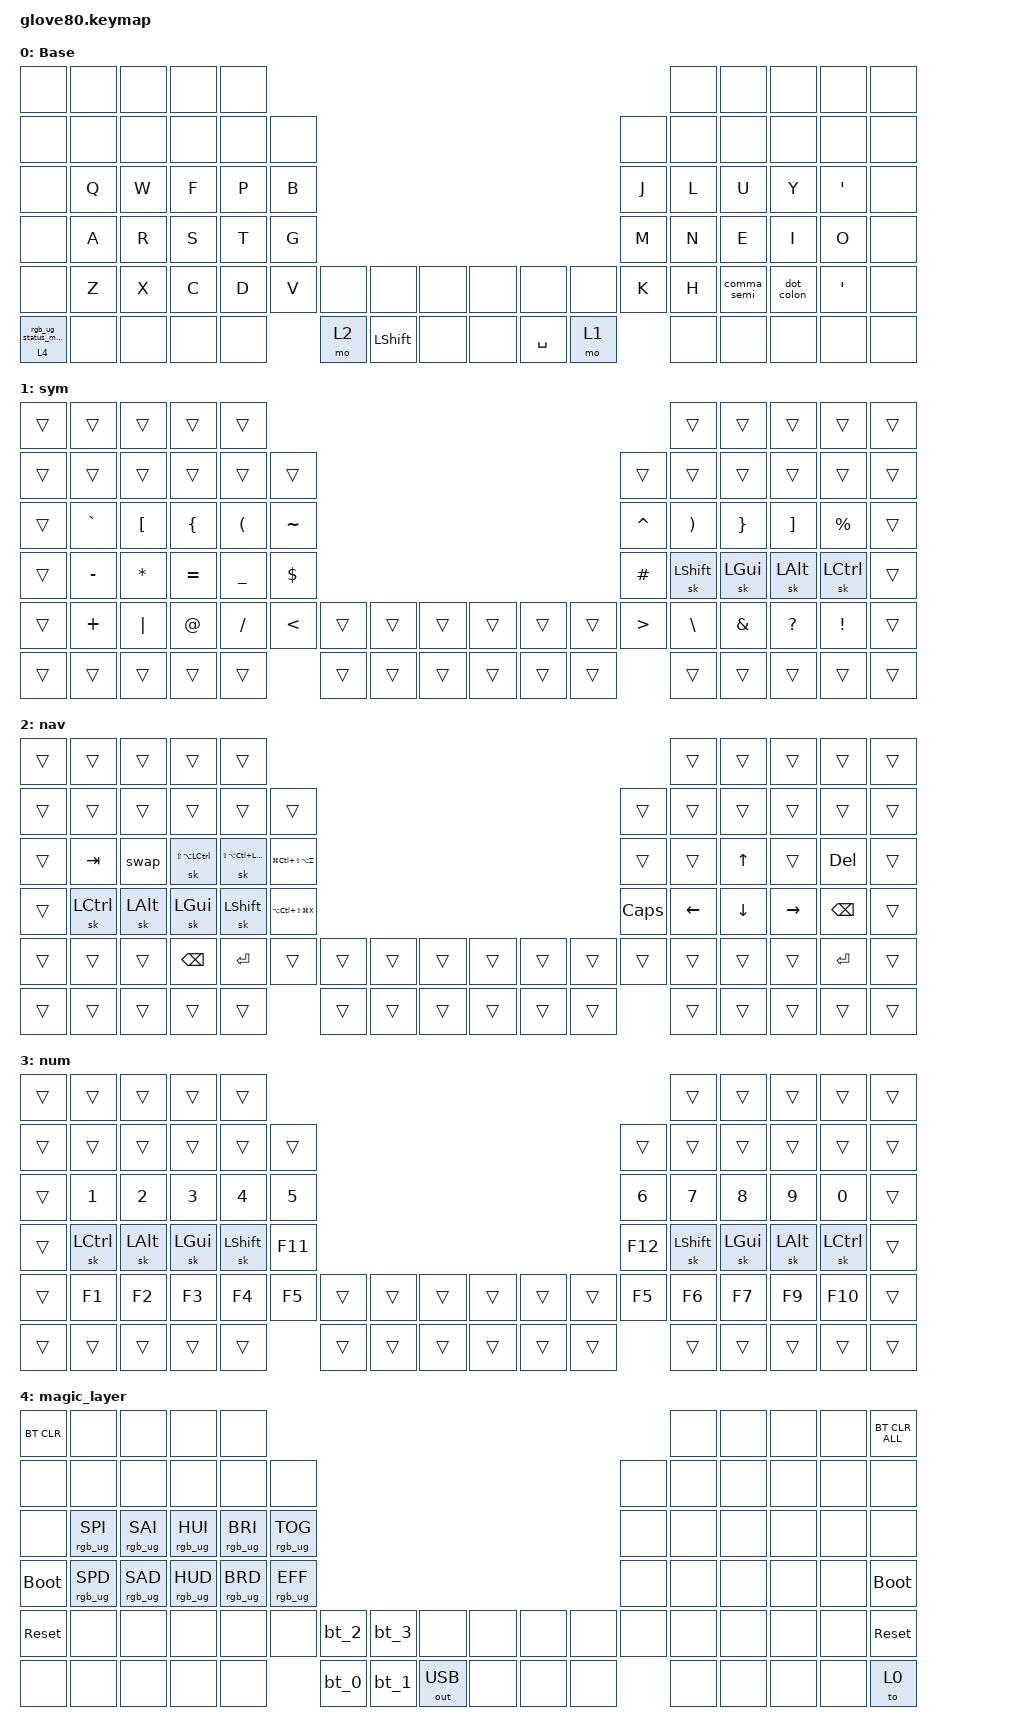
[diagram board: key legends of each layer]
/*
 * Copyright (c) 2020 The ZMK Contributors
 *
 * SPDX-License-Identifier: MIT
 */

#include <behaviors.dtsi>
#include <dt-bindings/zmk/bt.h>
#include <dt-bindings/zmk/keys.h>
#include <dt-bindings/zmk/outputs.h>
#include <dt-bindings/zmk/rgb.h>

#define HYPER LC(LS(LG(LALT)))

// layers

#define DEFAULT 0
#define LOWER 1
#define MAGIC 2
#define FACTORY_TEST 3

/ {
    behaviors {
        // For the "layer" key, it'd nice to be able to use it as either a shift or a toggle.
        // Configure it as a tap dance, so the first tap (or hold) is a &mo and the second tap is a &to

        layer_td: tap_dance_0 {
            compatible = "zmk,behavior-tap-dance";
            label = "LAYER_TAP_DANCE";
            #binding-cells = <0>;
            tapping-term-ms = <200>;
            bindings = <&mo 0>, <&to 0>;
        };

        magic: magic_hold_tap {
            compatible = "zmk,behavior-hold-tap";
            label = "MAGIC_HOLD_TAP";
            #binding-cells = <2>;
            flavor = "tap-preferred";
            tapping-term-ms = <200>;
            bindings = <&mo>, <&rgb_ug_status_macro>;
        };

        swap: swapper {
            compatible = "zmk,behavior-tri-state";
            label = "SWAPPER";
            #binding-cells = <0>;
            bindings = <&kt LGUI>, <&kp TAB>, <&kt LGUI>;

            ignored-key-positions = <1>;
        };

        comma_semi: comma_semi {
            compatible = "zmk,behavior-mod-morph";
            label = "COMMA_SEMI";
            bindings = <&kp COMMA>, <&kp SEMICOLON>;

            #binding-cells = <0>;
            mods = <(MOD_LSFT)>;
        };

        dot_colon: dot_colon {
            compatible = "zmk,behavior-mod-morph";
            label = "DOT_COLON";
            bindings = <&kp PERIOD>, <&kp COLON>;

            #binding-cells = <0>;
            mods = <(MOD_LSFT|MOD_RSFT)>;
        };
    };

    macros {
        rgb_ug_status_macro: rgb_ug_status_macro_0 {
            label = "RGB_UG_STATUS";
            compatible = "zmk,behavior-macro";
            #binding-cells = <0>;
            bindings = <&rgb_ug RGB_STATUS>;
        };

        bt_0: bt_profile_macro_0 {
            label = "BT_0";
            compatible = "zmk,behavior-macro";
            #binding-cells = <0>;
            bindings = <&out OUT_BLE &bt BT_SEL 0>;
        };

        bt_1: bt_profile_macro_1 {
            label = "BT_1";
            compatible = "zmk,behavior-macro";
            #binding-cells = <0>;
            bindings = <&out OUT_BLE &bt BT_SEL 1>;
        };

        bt_2: bt_profile_macro_2 {
            label = "BT_2";
            compatible = "zmk,behavior-macro";
            #binding-cells = <0>;
            bindings = <&out OUT_BLE &bt BT_SEL 2>;
        };

        bt_3: bt_profile_macro_3 {
            label = "BT_3";
            compatible = "zmk,behavior-macro";
            #binding-cells = <0>;
            bindings = <&out OUT_BLE &bt BT_SEL 3>;
        };
    };

    keymap {
        compatible = "zmk,keymap";

        Base {
            bindings = <
&none       &none  &none  &none  &none                                                                  &none  &none        &none       &none             &none
&none       &none  &none  &none  &none  &none                                                    &none  &none  &none        &none       &none             &none
&none       &kp Q  &kp W  &kp F  &kp P  &kp B                                                    &kp J  &kp L  &kp U        &kp Y       &kp SQT           &none
&none       &kp A  &kp R  &kp S  &kp T  &kp G                                                    &kp M  &kp N  &kp E        &kp I       &kp O             &none
&none       &kp Z  &kp X  &kp C  &kp D  &kp V  &none  &none      &none  &none  &none      &none  &kp K  &kp H  &comma_semi  &dot_colon  &kp SINGLE_QUOTE  &none
&magic 4 0  &none  &none  &none  &none         &mo 2  &kp LSHFT  &none  &none  &kp SPACE  &mo 1         &none  &none        &none       &none             &none
            >;
        };

        sym {
            bindings = <
&trans  &trans     &trans        &trans          &trans                                                                                                 &trans                 &trans           &trans             &trans           &trans
&trans  &trans     &trans        &trans          &trans                &trans                                                         &trans            &trans                 &trans           &trans             &trans           &trans
&trans  &kp GRAVE  &kp LBKT      &kp LEFT_BRACE  &kp LEFT_PARENTHESIS  &kp TILDE                                                      &kp CARET         &kp RIGHT_PARENTHESIS  &kp RIGHT_BRACE  &kp RIGHT_BRACKET  &kp PERCENT      &trans
&trans  &kp MINUS  &kp ASTERISK  &kp EQUAL       &kp UNDERSCORE        &kp DOLLAR                                                     &kp HASH          &sk LSHFT              &sk LGUI         &sk LALT           &sk LCTRL        &trans
&trans  &kp PLUS   &kp PIPE      &kp AT          &kp SLASH             &kp LESS_THAN  &trans  &trans  &trans  &trans  &trans  &trans  &kp GREATER_THAN  &kp BACKSLASH          &kp AMPERSAND    &kp QUESTION       &kp EXCLAMATION  &trans
&trans  &trans     &trans        &trans          &trans                               &trans  &trans  &trans  &trans  &trans  &trans                    &trans                 &trans           &trans             &trans           &trans
            >;
        };

        nav {
            bindings = <
&trans  &trans     &trans    &trans             &trans                                                                                                 &trans    &trans    &trans     &trans         &trans
&trans  &trans     &trans    &trans             &trans                &trans                                                                 &trans    &trans    &trans    &trans     &trans         &trans
&trans  &kp TAB    &swap     &sk LS(LA(LCTRL))  &sk LS(LA(LC(LGUI)))  &kp LG(LC(LS(LA(Z))))                                                  &trans    &trans    &kp UP    &trans     &kp DEL        &trans
&trans  &sk LCTRL  &sk LALT  &sk LGUI           &sk LSHFT             &kp LA(LC(LS(LG(X))))                                                  &kp CAPS  &kp LEFT  &kp DOWN  &kp RIGHT  &kp BACKSPACE  &trans
&trans  &trans     &trans    &kp BACKSPACE      &kp ENTER             &trans                 &trans  &trans  &trans  &trans  &trans  &trans  &trans    &trans    &trans    &trans     &kp RET        &trans
&trans  &trans     &trans    &trans             &trans                                       &trans  &trans  &trans  &trans  &trans  &trans            &trans    &trans    &trans     &trans         &trans
            >;
        };

        num {
            bindings = <
&trans  &trans     &trans    &trans    &trans                                                                       &trans     &trans    &trans    &trans     &trans
&trans  &trans     &trans    &trans    &trans     &trans                                                   &trans   &trans     &trans    &trans    &trans     &trans
&trans  &kp N1     &kp N2    &kp N3    &kp N4     &kp N5                                                   &kp N6   &kp N7     &kp N8    &kp N9    &kp N0     &trans
&trans  &sk LCTRL  &sk LALT  &sk LGUI  &sk LSHFT  &kp F11                                                  &kp F12  &sk LSHFT  &sk LGUI  &sk LALT  &sk LCTRL  &trans
&trans  &kp F1     &kp F2    &kp F3    &kp F4     &kp F5   &trans  &trans  &trans  &trans  &trans  &trans  &kp F5   &kp F6     &kp F7    &kp F9    &kp F10    &trans
&trans  &trans     &trans    &trans    &trans              &trans  &trans  &trans  &trans  &trans  &trans           &trans     &trans    &trans    &trans     &trans
            >;
        };

        magic_layer {
            bindings = <
&bt BT_CLR   &none            &none            &none            &none                                                                                     &none  &none  &none  &none  &bt BT_CLR_ALL
&none        &none            &none            &none            &none            &none                                                             &none  &none  &none  &none  &none  &none
&none        &rgb_ug RGB_SPI  &rgb_ug RGB_SAI  &rgb_ug RGB_HUI  &rgb_ug RGB_BRI  &rgb_ug RGB_TOG                                                   &none  &none  &none  &none  &none  &none
&bootloader  &rgb_ug RGB_SPD  &rgb_ug RGB_SAD  &rgb_ug RGB_HUD  &rgb_ug RGB_BRD  &rgb_ug RGB_EFF                                                   &none  &none  &none  &none  &none  &bootloader
&sys_reset   &none            &none            &none            &none            &none            &bt_2  &bt_3  &none         &none  &none  &none  &none  &none  &none  &none  &none  &sys_reset
&none        &none            &none            &none            &none                             &bt_0  &bt_1  &out OUT_USB  &none  &none  &none         &none  &none  &none  &none  &to 0
            >;
        };
    };

    conditional_layers {
        compatible = "zmk,conditional-layers";

        num {
            if-layers = <1 2>;
            then-layer = <3>;
        };
    };
};
